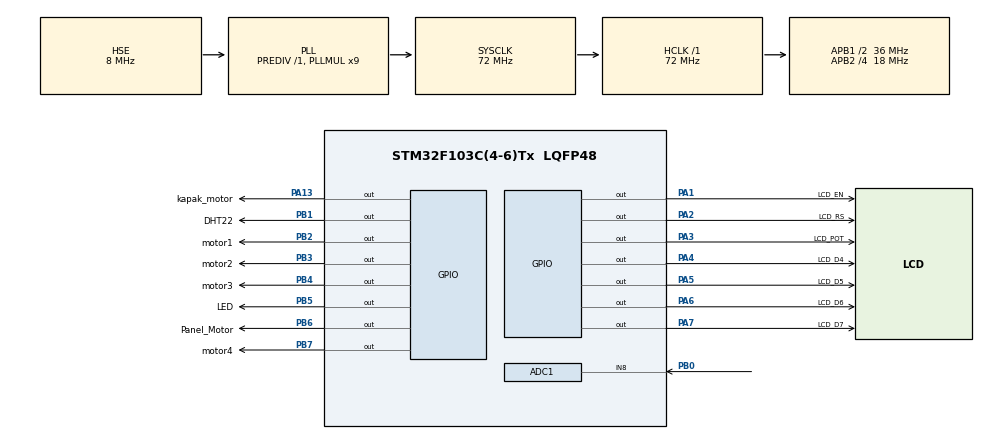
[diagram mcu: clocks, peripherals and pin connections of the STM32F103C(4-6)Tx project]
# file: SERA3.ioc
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ADC1.Channel-8\#ChannelRegularConversion=ADC_CHANNEL_8
ADC1.ContinuousConvMode=ENABLE
ADC1.Mode=__NULL
ADC1.NbrOfConversionFlag=1
ADC1.Rank-8\#ChannelRegularConversion=1
ADC1.SamplingTime-8\#ChannelRegularConversion=ADC_SAMPLETIME_1CYCLE_5
ADC1.master=1
Mcu.Family=STM32F1
Mcu.Name=STM32F103C(4-6)Tx
Mcu.Package=LQFP48
NVIC.PriorityGroup=NVIC_PRIORITYGROUP_4
NVIC.TIM1_UP_IRQn=true\:0\:0\:false\:false\:true\:true\:true\:true
PA1.GPIO_Label=LCD_EN
PA1.Signal=GPIO_Output
PA13.GPIO_Label=kapak_motor
PA13.Signal=GPIO_Output
PA2.GPIO_Label=LCD_RS
PA2.Signal=GPIO_Output
PA3.GPIO_Label=LCD_POT
PA3.Signal=GPIO_Output
PA4.GPIO_Label=LCD_D4
PA4.Signal=GPIO_Output
PA5.GPIO_Label=LCD_D5
PA5.Signal=GPIO_Output
PA6.GPIO_Label=LCD_D6
PA6.Signal=GPIO_Output
PA7.GPIO_Label=LCD_D7
PA7.Signal=GPIO_Output
PB0.Signal=ADCx_IN8
PB1.GPIO_Label=DHT22
PB1.GPIO_ModeDefaultOutputPP=GPIO_MODE_OUTPUT_OD
PB1.GPIO_PuPd=GPIO_NOPULL
PB1.Signal=GPIO_Output
PB2.GPIO_Label=motor1
PB2.GPIO_ModeDefaultOutputPP=GPIO_MODE_OUTPUT_OD
PB2.GPIO_PuPd=GPIO_NOPULL
PB2.Signal=GPIO_Output
PB3.GPIO_Label=motor2
PB3.GPIO_ModeDefaultOutputPP=GPIO_MODE_OUTPUT_OD
PB3.GPIO_PuPd=GPIO_NOPULL
PB3.Signal=GPIO_Output
PB4.GPIO_Label=motor3
PB4.GPIO_ModeDefaultOutputPP=GPIO_MODE_OUTPUT_OD
PB4.GPIO_PuPd=GPIO_NOPULL
PB4.Signal=GPIO_Output
PB5.GPIO_Label=LED
PB5.Signal=GPIO_Output
PB6.GPIO_Label=Panel_Motor
PB6.Signal=GPIO_Output
PB7.GPIO_Label=motor4
PB7.GPIO_ModeDefaultOutputPP=GPIO_MODE_OUTPUT_OD
PB7.GPIO_PuPd=GPIO_NOPULL
PB7.Signal=GPIO_Output
PD0-OSC_IN.Mode=HSE-External-Oscillator
PD0-OSC_IN.Signal=RCC_OSC_IN
PD1-OSC_OUT.Mode=HSE-External-Oscillator
PD1-OSC_OUT.Signal=RCC_OSC_OUT
ProjectManager.HeapSize=0x200
ProjectManager.StackSize=0x400
ProjectManager.TargetToolchain=STM32CubeIDE
RCC.AHBFreq_Value=72000000
RCC.APB1CLKDivider=RCC_HCLK_DIV2
RCC.APB1Freq_Value=36000000
RCC.APB1TimFreq_Value=72000000
RCC.APB2CLKDivider=RCC_HCLK_DIV4
RCC.APB2Freq_Value=18000000
RCC.APB2TimFreq_Value=36000000
RCC.HCLKFreq_Value=72000000
RCC.PLLMUL=RCC_PLL_MUL9
RCC.PLLSourceVirtual=RCC_PLLSOURCE_HSE
RCC.SYSCLKFreq_VALUE=72000000
RCC.SYSCLKSource=RCC_SYSCLKSOURCE_PLLCLK
RCC.USBFreq_Value=72000000
SH.ADCx_IN8.0=ADC1_IN8,IN8
TIM1.Period=499
TIM1.Prescaler=7200-1
VP_SYS_VS_ND.Mode=No_Debug
VP_TIM1_VS_ClockSourceINT.Mode=Internal
board=custom

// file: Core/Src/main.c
/* USER CODE BEGIN Header */
/**
  ******************************************************************************
  * @file           : main.c
  * @brief          : Main program body
  ******************************************************************************
  * @attention
  *
  * Copyright (c) 2023 STMicroelectronics.
  * All rights reserved.
  *
  * This software is licensed under terms that can be found in the LICENSE file
  * in the root directory of this software component.
  * If no LICENSE file comes with this software, it is provided AS-IS.
  *
  ******************************************************************************
  */
/* USER CODE END Header */
#include "main.h"

/* USER CODE BEGIN Includes */
#include "dht22.h"
#include "stdio.h"
#include "lcd.h"

/* USER CODE END Includes */

/* USER CODE BEGIN PD */
uint32_t data=0;
int data1=0;
char yazi3[16]="";

uint32_t data2=0;
int data3=0;
char yazi4[16]="";
int sayac=0;
char yazi5[16]="";
/* USER CODE END PD */

ADC_HandleTypeDef hadc1;

TIM_HandleTypeDef htim1;

void SystemClock_Config(void);
static void MX_GPIO_Init(void);
static void MX_ADC1_Init(void);
static void MX_TIM1_Init(void);

/* USER CODE BEGIN 0 */
float nem,sicaklik;
char yazi1[16]="";
char yazi2[16]="";
int sicaklik1=0,nem1=0;

/* USER CODE END 0 */

int main(void)
{

  /* MCU Configuration--------------------------------------------------------*/

  /* Reset of all peripherals, Initializes the Flash interface and the Systick. */
  HAL_Init();

  /* Configure the system clock */
  SystemClock_Config();

  /* Initialize all configured peripherals */
  MX_GPIO_Init();
  MX_ADC1_Init();
  MX_TIM1_Init();
  /* USER CODE BEGIN 2 */
  	  dht22_init();
  	  lcd_init(_LCD_4BIT, _LCD_FONT_5x10, _LCD_2LINE);
  	  HAL_Delay(500);

  	  //HAL_ADC_Start_DMA(&hadc1, (uint32_t*)adc1_buffer, 2);
  	  //HAL_ADC_Start_DMA(&hadc2, (uint32_t*)adc2_buffer, 2);

  	  HAL_ADC_Start(&hadc1);
  	  //HAL_ADC_Start(&hadc2);

  	HAL_TIM_Base_Start_IT(&htim1);

  /* USER CODE END 2 */

  /* Infinite loop */
  while (1)
  {

    /* USER CODE BEGIN 3 */
	  DHT22_GetTemp_Humidity(&sicaklik,&nem);
	  sicaklik1 = (int)sicaklik;
	  nem1 = (int)nem;
	  sprintf(yazi1, "Sicaklik=%d", sicaklik1);
	  sprintf(yazi2, "Nem=%d", nem1);
	  lcd_print(1,1,yazi1);
	  lcd_print(2,1,yazi2);
	  if((sicaklik>28)||(nem>80)){
		  HAL_GPIO_WritePin(GPIOB, GPIO_PIN_2, GPIO_PIN_RESET);
		  HAL_GPIO_WritePin(GPIOB, GPIO_PIN_3, GPIO_PIN_SET);
		  HAL_GPIO_WritePin(GPIOB, GPIO_PIN_4, GPIO_PIN_SET);
		  lcd_clear();
		  lcd_print(1,1,"Yuksek Nem&Sicak");
		  lcd_print(2,1,"Fan Devrede");
		  }

	  else if(sicaklik<26){
	  		  HAL_GPIO_WritePin(GPIOB, GPIO_PIN_3, GPIO_PIN_RESET);
	  		  HAL_GPIO_WritePin(GPIOB, GPIO_PIN_2, GPIO_PIN_SET);
	  		HAL_GPIO_WritePin(GPIOB, GPIO_PIN_4, GPIO_PIN_SET);
	  		  lcd_clear();
	  		  lcd_print(1,1,"Dusuk Sicaklik");
	  		  lcd_print(2,1,"Isitma Devrede");
	  		  }
	  else if(nem<78){
	  	  		  HAL_GPIO_WritePin(GPIOB, GPIO_PIN_4, GPIO_PIN_RESET);
	  	  		HAL_GPIO_WritePin(GPIOB, GPIO_PIN_3, GPIO_PIN_SET);
	  	  		  HAL_GPIO_WritePin(GPIOB, GPIO_PIN_2, GPIO_PIN_SET);
	  	  		  lcd_clear();
	  	  		  lcd_print(1,1,"Dusuk Nem");
	  	  		  lcd_print(2,1,"Nemlendirme Devrede");
	  	  		  }
	else
		  {
		  lcd_clear();
		  HAL_GPIO_WritePin(GPIOB, GPIO_PIN_2, GPIO_PIN_SET);
		  HAL_GPIO_WritePin(GPIOB, GPIO_PIN_3, GPIO_PIN_SET);
		  HAL_GPIO_WritePin(GPIOB, GPIO_PIN_4, GPIO_PIN_SET);
		  lcd_print(1,1,yazi1);
		  lcd_print(2,1,yazi2);
		  }
	  lcd_delay();

	  	  /* ADC1 sonuçlarını işleme */
	  	  //uint32_t adc1_ch0 = adc1_buffer[0]; // ADC1 kanal 0 sonucunu oku
	      //uint32_t adc1_ch1 = adc1_buffer[1]; // ADC1 kanal 1 sonucunu oku

	      /* ADC2 sonuçlarını işleme */
	      //uint32_t adc2_ch0 = adc2_buffer[0]; // ADC2 kanal 0 sonucunu oku
	      //uint32_t adc2_ch1 = adc2_buffer[1];

	  // toprak Nem
	  data=HAL_ADC_GetValue(&hadc1);
	  data1=(int)data;

	  	  if (data<600){
	  		  sprintf(yazi3, "T.Nem Degeri=%d", data1);
	  		  lcd_print(1,1,"Toprak Nem Dusuk");
	  		  lcd_print(2,1,yazi3);
	  		  HAL_Delay(100);
	  		  HAL_GPIO_WritePin(GPIOB, GPIO_PIN_7, GPIO_PIN_RESET);
	  	  }
	  	  else {HAL_GPIO_WritePin(GPIOB, GPIO_PIN_7, GPIO_PIN_SET);}

	 /* // toprak PH
	  data2=HAL_ADC_GetValue(&hadc2);
	  data3=(int)data2;

	  	  if (data3<600){
	  	  sprintf(yazi4, "T.PH Degeri=%d", data3);
	  	  lcd_print(1,1,"Toprak PH Dusuk");
	  	  lcd_print(2,1,yazi4);
	  	  lcd_delay();
	  	  lcd_print(2,1,"Kükürtleme Yapınız");

	  	  HAL_Delay(100);
	  	  }
	  	  else if (data3>800){sprintf(yazi4, "T.PH Degeri=%d", data3);
	  	  lcd_print(1,1,"Toprak PH Yuksek");
	  	  lcd_print(2,1,yazi4);
	  	  lcd_delay();
	  	  lcd_print(2,1,"Asitli Gubre Kull");

	  	  HAL_Delay(100);}
	  	*/

	  HAL_Delay(500);

  }
  /* USER CODE END 3 */
}

void SystemClock_Config(void)
{
  RCC_OscInitTypeDef RCC_OscInitStruct = {0};
  RCC_ClkInitTypeDef RCC_ClkInitStruct = {0};
  RCC_PeriphCLKInitTypeDef PeriphClkInit = {0};

  /** Initializes the RCC Oscillators according to the specified parameters
  * in the RCC_OscInitTypeDef structure.
  */
  RCC_OscInitStruct.OscillatorType = RCC_OSCILLATORTYPE_HSE;
  RCC_OscInitStruct.HSEState = RCC_HSE_ON;
  RCC_OscInitStruct.HSEPredivValue = RCC_HSE_PREDIV_DIV1;
  RCC_OscInitStruct.HSIState = RCC_HSI_ON;
  RCC_OscInitStruct.PLL.PLLState = RCC_PLL_ON;
  RCC_OscInitStruct.PLL.PLLSource = RCC_PLLSOURCE_HSE;
  RCC_OscInitStruct.PLL.PLLMUL = RCC_PLL_MUL9;
  if (HAL_RCC_OscConfig(&RCC_OscInitStruct) != HAL_OK)
  {
    Error_Handler();
  }

  /** Initializes the CPU, AHB and APB buses clocks
  */
  RCC_ClkInitStruct.ClockType = RCC_CLOCKTYPE_HCLK|RCC_CLOCKTYPE_SYSCLK
                              |RCC_CLOCKTYPE_PCLK1|RCC_CLOCKTYPE_PCLK2;
  RCC_ClkInitStruct.SYSCLKSource = RCC_SYSCLKSOURCE_PLLCLK;
  RCC_ClkInitStruct.AHBCLKDivider = RCC_SYSCLK_DIV1;
  RCC_ClkInitStruct.APB1CLKDivider = RCC_HCLK_DIV2;
  RCC_ClkInitStruct.APB2CLKDivider = RCC_HCLK_DIV4;

  if (HAL_RCC_ClockConfig(&RCC_ClkInitStruct, FLASH_LATENCY_2) != HAL_OK)
  {
    Error_Handler();
  }
  PeriphClkInit.PeriphClockSelection = RCC_PERIPHCLK_ADC;
  PeriphClkInit.AdcClockSelection = RCC_ADCPCLK2_DIV2;
  if (HAL_RCCEx_PeriphCLKConfig(&PeriphClkInit) != HAL_OK)
  {
    Error_Handler();
  }
}

static void MX_ADC1_Init(void)
{

  ADC_ChannelConfTypeDef sConfig = {0};

  /** Common config
  */
  hadc1.Instance = ADC1;
  hadc1.Init.ScanConvMode = ADC_SCAN_DISABLE;
  hadc1.Init.ContinuousConvMode = ENABLE;
  hadc1.Init.DiscontinuousConvMode = DISABLE;
  hadc1.Init.ExternalTrigConv = ADC_SOFTWARE_START;
  hadc1.Init.DataAlign = ADC_DATAALIGN_RIGHT;
  hadc1.Init.NbrOfConversion = 1;
  if (HAL_ADC_Init(&hadc1) != HAL_OK)
  {
    Error_Handler();
  }

  /** Configure Regular Channel
  */
  sConfig.Channel = ADC_CHANNEL_8;
  sConfig.Rank = ADC_REGULAR_RANK_1;
  sConfig.SamplingTime = ADC_SAMPLETIME_1CYCLE_5;
  if (HAL_ADC_ConfigChannel(&hadc1, &sConfig) != HAL_OK)
  {
    Error_Handler();
  }

}

static void MX_TIM1_Init(void)
{

  TIM_ClockConfigTypeDef sClockSourceConfig = {0};
  TIM_MasterConfigTypeDef sMasterConfig = {0};

  htim1.Instance = TIM1;
  htim1.Init.Prescaler = 7200-1;
  htim1.Init.CounterMode = TIM_COUNTERMODE_UP;
  htim1.Init.Period = 499;
  htim1.Init.ClockDivision = TIM_CLOCKDIVISION_DIV1;
  htim1.Init.RepetitionCounter = 0;
  htim1.Init.AutoReloadPreload = TIM_AUTORELOAD_PRELOAD_DISABLE;
  if (HAL_TIM_Base_Init(&htim1) != HAL_OK)
  {
    Error_Handler();
  }
  sClockSourceConfig.ClockSource = TIM_CLOCKSOURCE_INTERNAL;
  if (HAL_TIM_ConfigClockSource(&htim1, &sClockSourceConfig) != HAL_OK)
  {
    Error_Handler();
  }
  sMasterConfig.MasterOutputTrigger = TIM_TRGO_RESET;
  sMasterConfig.MasterSlaveMode = TIM_MASTERSLAVEMODE_DISABLE;
  if (HAL_TIMEx_MasterConfigSynchronization(&htim1, &sMasterConfig) != HAL_OK)
  {
    Error_Handler();
  }

}

static void MX_GPIO_Init(void)
{
  GPIO_InitTypeDef GPIO_InitStruct = {0};

  /* GPIO Ports Clock Enable */
  __HAL_RCC_GPIOD_CLK_ENABLE();
  __HAL_RCC_GPIOA_CLK_ENABLE();
  __HAL_RCC_GPIOB_CLK_ENABLE();

  /*Configure GPIO pin Output Level */
  HAL_GPIO_WritePin(GPIOA, LCD_EN_Pin|LCD_RS_Pin|LCD_POT_Pin|LCD_D4_Pin
                          |LCD_D5_Pin|LCD_D6_Pin|LCD_D7_Pin|kapak_motor_Pin, GPIO_PIN_RESET);

  /*Configure GPIO pin Output Level */
  HAL_GPIO_WritePin(GPIOB, DHT22_Pin|motor1_Pin|motor2_Pin|motor3_Pin
                          |LED_Pin|Panel_Motor_Pin|motor4_Pin, GPIO_PIN_RESET);

  /*Configure GPIO pins : LCD_EN_Pin LCD_RS_Pin LCD_POT_Pin LCD_D4_Pin
                           LCD_D5_Pin LCD_D6_Pin LCD_D7_Pin kapak_motor_Pin */
  GPIO_InitStruct.Pin = LCD_EN_Pin|LCD_RS_Pin|LCD_POT_Pin|LCD_D4_Pin
                          |LCD_D5_Pin|LCD_D6_Pin|LCD_D7_Pin|kapak_motor_Pin;
  GPIO_InitStruct.Mode = GPIO_MODE_OUTPUT_PP;
  GPIO_InitStruct.Pull = GPIO_NOPULL;
  GPIO_InitStruct.Speed = GPIO_SPEED_FREQ_LOW;
  HAL_GPIO_Init(GPIOA, &GPIO_InitStruct);

  /*Configure GPIO pins : DHT22_Pin motor1_Pin motor2_Pin motor3_Pin
                           motor4_Pin */
  GPIO_InitStruct.Pin = DHT22_Pin|motor1_Pin|motor2_Pin|motor3_Pin
                          |motor4_Pin;
  GPIO_InitStruct.Mode = GPIO_MODE_OUTPUT_OD;
  GPIO_InitStruct.Pull = GPIO_NOPULL;
  GPIO_InitStruct.Speed = GPIO_SPEED_FREQ_LOW;
  HAL_GPIO_Init(GPIOB, &GPIO_InitStruct);

  /*Configure GPIO pins : LED_Pin Panel_Motor_Pin */
  GPIO_InitStruct.Pin = LED_Pin|Panel_Motor_Pin;
  GPIO_InitStruct.Mode = GPIO_MODE_OUTPUT_PP;
  GPIO_InitStruct.Pull = GPIO_NOPULL;
  GPIO_InitStruct.Speed = GPIO_SPEED_FREQ_LOW;
  HAL_GPIO_Init(GPIOB, &GPIO_InitStruct);

}

/* USER CODE BEGIN 4 */
void HAL_TIM_PeriodElapsedCallback(TIM_HandleTypeDef *htim)
{
	HAL_GPIO_TogglePin(GPIOB, GPIO_PIN_5);
	sayac++;
	if ((sayac>=2)&&(sayac<=5)){
		lcd_print(1,1,"Gece Aydinlatmasi");
		HAL_GPIO_WritePin(GPIOB, GPIO_PIN_6, GPIO_PIN_SET);
		HAL_GPIO_WritePin(GPIOA, GPIO_PIN_13, GPIO_PIN_RESET);
	}
	else {
		HAL_GPIO_WritePin(GPIOB, GPIO_PIN_6, GPIO_PIN_RESET);
		HAL_GPIO_WritePin(GPIOA, GPIO_PIN_13, GPIO_PIN_SET);
	}

/*
	static uint8_t is_daytime = 0; // Gündüz / gece durumu için bayrak

	  uint32_t current_hour = HAL_GetTick() / 3600000; // Sistem zamanını saat cinsinden al

	  if (current_hour >= 7 && current_hour < 19) // Gündüz saatleri
	  {
	    if (!is_daytime)
	    {
	      is_daytime = 1; // Gündüz olduğunu işaretlemek için bayrağı ayarla
	      HAL_GPIO_WritePin(GPIOA, GPIO_PIN_10, GPIO_PIN_SET);     // Işık pinini kapalı duruma getir
	      HAL_GPIO_WritePin(GPIOA, GPIO_PIN_11, GPIO_PIN_RESET);   // Perde pinini açık duruma getir
	      lcd_print(1, 1, "Gündüz Oldu");
	      HAL_Delay(10000); // 10 saniye bekle
	    }
	  }
	  else // Gece saatleri
	  {
	    if (is_daytime)
	    {
	      is_daytime = 0; // Gece olduğunu işaretlemek için bayrağı sıfırla
	      HAL_GPIO_WritePin(GPIOA, GPIO_PIN_10, GPIO_PIN_RESET);   // Işık pinini açık duruma getir
	      HAL_GPIO_WritePin(GPIOA, GPIO_PIN_11, GPIO_PIN_SET);     // Perde pinini kapalı duruma getir
	      lcd_print(1, 1, "Gece Oldu");
	      HAL_Delay(10000); // 10 saniye bekle
	    }
	  }
	}
*/

}

/* USER CODE END 4 */

void Error_Handler(void)
{
  __disable_irq();
  while (1)
  {
  }
}
